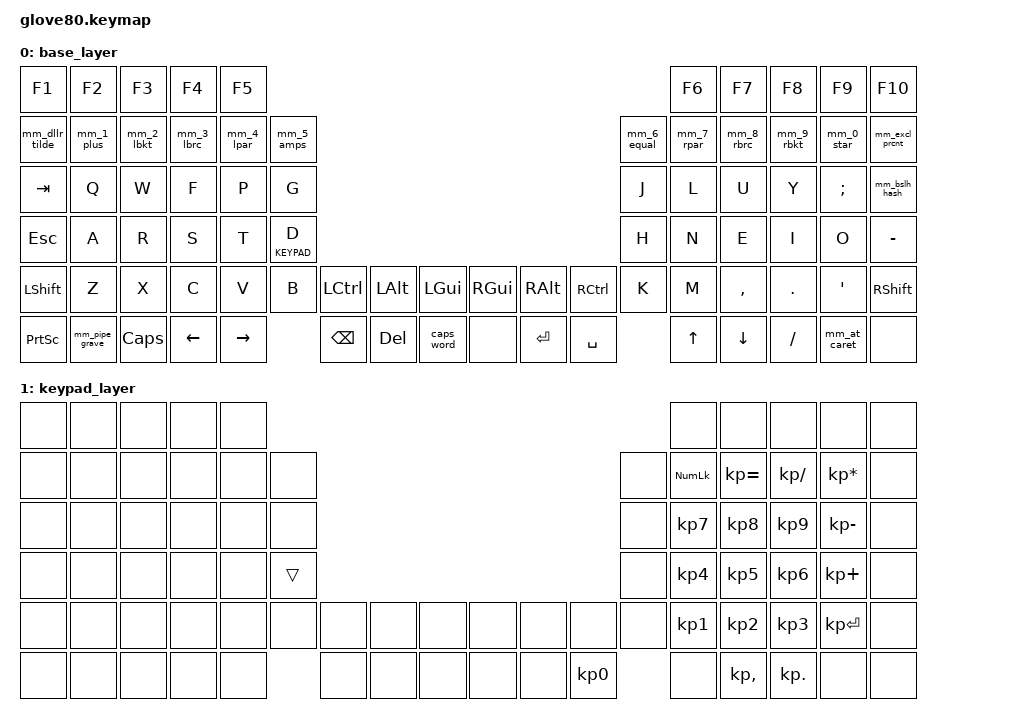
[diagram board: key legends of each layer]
/*
 * Glove80 ZMK Keymap - Colemak with Home Row Mods
 *
 * Layers:
 *   0: Base (Colemak, home row mods disabled - behaviors kept for easy re-enable)
 *   1: Keypad/Numpad
 */

#include <behaviors.dtsi>
#include <dt-bindings/zmk/keys.h>
#include <dt-bindings/zmk/bt.h>
#include <dt-bindings/zmk/ext_power.h>
#include <dt-bindings/zmk/outputs.h>

#define BASE 0
#define KEYPAD 1

// Home row mod settings
#define TAPPING_TERM 175
#define QUICK_TAP 150

/ {
    behaviors {
        // Home row mods - balanced flavor for better typing
        hml: home_row_mod_left {
            compatible = "zmk,behavior-hold-tap";
            #binding-cells = <2>;
            tapping-term-ms = <TAPPING_TERM>;
            quick-tap-ms = <QUICK_TAP>;
            flavor = "balanced";
            bindings = <&kp>, <&kp>;
            hold-trigger-key-positions = <6 7 8 9 10 11 18 19 20 21 22 23 30 31 32 33 34 35 43 44 45 46 47 48 49 55 56 57 58 59 63 64 65 66 67 75 76 77 78 79>;
            hold-trigger-on-release;
        };

        hmr: home_row_mod_right {
            compatible = "zmk,behavior-hold-tap";
            #binding-cells = <2>;
            tapping-term-ms = <TAPPING_TERM>;
            quick-tap-ms = <QUICK_TAP>;
            flavor = "balanced";
            bindings = <&kp>, <&kp>;
            hold-trigger-key-positions = <0 1 2 3 4 5 12 13 14 15 16 17 24 25 26 27 28 29 36 37 38 39 40 41 42 50 51 52 53 54 60 61 62 68 69 70 71 72 73 74>;
            hold-trigger-on-release;
        };

        // Layer tap for D key -> Keypad layer
        ltd: layer_tap_d {
            compatible = "zmk,behavior-hold-tap";
            #binding-cells = <2>;
            tapping-term-ms = <TAPPING_TERM>;
            quick-tap-ms = <QUICK_TAP>;
            flavor = "balanced";
            bindings = <&mo>, <&kp>;
        };

        // Mod-morph behaviors for custom symbol keys
        // Format: unshifted / shifted

        // | (pipe) / ` (grave)
        mm_pipe_grave: mod_morph_pipe_grave {
            compatible = "zmk,behavior-mod-morph";
            #binding-cells = <0>;
            bindings = <&kp PIPE>, <&kp GRAVE>;
            mods = <(MOD_LSFT|MOD_RSFT)>;
        };

        // 1 / + (plus)
        mm_1_plus: mod_morph_1_plus {
            compatible = "zmk,behavior-mod-morph";
            #binding-cells = <0>;
            bindings = <&kp N1>, <&kp PLUS>;
            mods = <(MOD_LSFT|MOD_RSFT)>;
        };

        // 2 / [ (left bracket)
        mm_2_lbkt: mod_morph_2_lbkt {
            compatible = "zmk,behavior-mod-morph";
            #binding-cells = <0>;
            bindings = <&kp N2>, <&kp LBKT>;
            mods = <(MOD_LSFT|MOD_RSFT)>;
        };

        // 3 / { (left brace)
        mm_3_lbrc: mod_morph_3_lbrc {
            compatible = "zmk,behavior-mod-morph";
            #binding-cells = <0>;
            bindings = <&kp N3>, <&kp LBRC>;
            mods = <(MOD_LSFT|MOD_RSFT)>;
        };

        // 4 / ( (left paren)
        mm_4_lpar: mod_morph_4_lpar {
            compatible = "zmk,behavior-mod-morph";
            #binding-cells = <0>;
            bindings = <&kp N4>, <&kp LPAR>;
            mods = <(MOD_LSFT|MOD_RSFT)>;
        };

        // 5 / & (ampersand)
        mm_5_amps: mod_morph_5_amps {
            compatible = "zmk,behavior-mod-morph";
            #binding-cells = <0>;
            bindings = <&kp N5>, <&kp AMPS>;
            mods = <(MOD_LSFT|MOD_RSFT)>;
        };

        // 6 / = (equal)
        mm_6_equal: mod_morph_6_equal {
            compatible = "zmk,behavior-mod-morph";
            #binding-cells = <0>;
            bindings = <&kp N6>, <&kp EQUAL>;
            mods = <(MOD_LSFT|MOD_RSFT)>;
        };

        // 7 / ) (right paren)
        mm_7_rpar: mod_morph_7_rpar {
            compatible = "zmk,behavior-mod-morph";
            #binding-cells = <0>;
            bindings = <&kp N7>, <&kp RPAR>;
            mods = <(MOD_LSFT|MOD_RSFT)>;
        };

        // 8 / } (right brace)
        mm_8_rbrc: mod_morph_8_rbrc {
            compatible = "zmk,behavior-mod-morph";
            #binding-cells = <0>;
            bindings = <&kp N8>, <&kp RBRC>;
            mods = <(MOD_LSFT|MOD_RSFT)>;
        };

        // 9 / ] (right bracket)
        mm_9_rbkt: mod_morph_9_rbkt {
            compatible = "zmk,behavior-mod-morph";
            #binding-cells = <0>;
            bindings = <&kp N9>, <&kp RBKT>;
            mods = <(MOD_LSFT|MOD_RSFT)>;
        };

        // 0 / * (asterisk)
        mm_0_star: mod_morph_0_star {
            compatible = "zmk,behavior-mod-morph";
            #binding-cells = <0>;
            bindings = <&kp N0>, <&kp ASTRK>;
            mods = <(MOD_LSFT|MOD_RSFT)>;
        };

        // ! / % (exclamation / percent)
        mm_excl_prcnt: mod_morph_excl_prcnt {
            compatible = "zmk,behavior-mod-morph";
            #binding-cells = <0>;
            bindings = <&kp EXCL>, <&kp PRCNT>;
            mods = <(MOD_LSFT|MOD_RSFT)>;
        };

        // \ / # (backslash / hash)
        mm_bslh_hash: mod_morph_bslh_hash {
            compatible = "zmk,behavior-mod-morph";
            #binding-cells = <0>;
            bindings = <&kp BSLH>, <&kp HASH>;
            mods = <(MOD_LSFT|MOD_RSFT)>;
        };

        // $ / ~ (dollar / tilde)
        mm_dllr_tilde: mod_morph_dllr_tilde {
            compatible = "zmk,behavior-mod-morph";
            #binding-cells = <0>;
            bindings = <&kp DLLR>, <&kp TILDE>;
            mods = <(MOD_LSFT|MOD_RSFT)>;
        };

        // @ / ^ (at / caret)
        mm_at_caret: mod_morph_at_caret {
            compatible = "zmk,behavior-mod-morph";
            #binding-cells = <0>;
            bindings = <&kp AT>, <&kp CARET>;
            mods = <(MOD_LSFT|MOD_RSFT)>;
        };
    };

    keymap {
        compatible = "zmk,keymap";

        base_layer {
            /*
             * ╭─────────────────────────────────────────╮                                         ╭─────────────────────────────────────────╮
             * │  F1  │  F2  │  F3  │  F4  │  F5  │      │                                         │      │  F6  │  F7  │  F8  │  F9  │ F10  │
             * │  $~  │  1+  │  2[  │  3{  │  4(  │  5&  │                                         │  6=  │  7)  │  8}  │  9]  │  0*  │  !%  │
             * │ TAB  │  Q   │  W   │  F   │  P   │  G   │                                         │  J   │  L   │  U   │  Y   │  ;   │  \#  │
             * │ ESC  │  A   │  R   │  S   │  T   │ D/L1 │                                         │  H   │  N   │  E   │  I   │  O   │  -   │
             * │SHIFT │  Z   │  X   │  C   │  V   │  B   │ LCTL │ LALT │ LGUI │ RGUI │ RALT │ RCTL │  K   │  M   │  ,   │  .   │  '   │SHIFT │
             * │ PRSC │  |`  │ CAPS │  ←   │  →   │      │ BSPC │ DEL  │CAPSW │      │ RET  │ SPC  │      │  ↑   │  ↓   │  /   │  @^  │      │
             * ╰─────────────────────────────────────────╯                                         ╰─────────────────────────────────────────╯
             */
            bindings = <
                &kp F1          &kp F2          &kp F3          &kp F4           &kp F5                                                                                                             &kp F6           &kp F7           &kp F8          &kp F9           &kp F10
                &mm_dllr_tilde  &mm_1_plus      &mm_2_lbkt      &mm_3_lbrc       &mm_4_lpar       &mm_5_amps                                                                           &mm_6_equal  &mm_7_rpar       &mm_8_rbrc       &mm_9_rbkt      &mm_0_star       &mm_excl_prcnt
                &kp TAB         &kp Q           &kp W           &kp F            &kp P            &kp G                                                                                &kp J        &kp L            &kp U            &kp Y           &kp SEMI         &mm_bslh_hash
                &kp ESC         &kp A           &kp R           &kp S            &kp T            &ltd KEYPAD D                                                                        &kp H        &kp N            &kp E            &kp I           &kp O            &kp MINUS
                &kp LSHFT       &kp Z           &kp X           &kp C            &kp V            &kp B          &kp LCTRL  &kp LALT  &kp LGUI    &kp RGUI  &kp RALT  &kp RCTRL        &kp K        &kp M            &kp COMMA        &kp DOT         &kp SQT          &kp RSHFT
                &kp PSCRN       &mm_pipe_grave  &kp CAPS        &kp LEFT         &kp RIGHT                       &kp BSPC   &kp DEL   &caps_word  &none     &kp RET   &kp SPACE                     &kp UP           &kp DOWN         &kp FSLH        &mm_at_caret     &none
            >;
        };

        keypad_layer {
            bindings = <
                &none           &none           &none           &none            &none                                                                                                              &none            &none            &none            &none            &none
                &none           &none           &none           &none            &none            &none                                                                            &none            &kp KP_NUM       &kp KP_EQUAL     &kp KP_SLASH     &kp KP_MULTIPLY  &none
                &none           &none           &none           &none            &none            &none                                                                            &none            &kp KP_N7        &kp KP_N8        &kp KP_N9        &kp KP_MINUS     &none
                &none           &none           &none           &none            &none            &trans                                                                           &none            &kp KP_N4        &kp KP_N5        &kp KP_N6        &kp KP_PLUS      &none
                &none           &none           &none           &none            &none            &none          &none   &none   &none     &none   &none   &none                   &none            &kp KP_N1        &kp KP_N2        &kp KP_N3        &kp KP_ENTER     &none
                &none           &none           &none           &none            &none                           &none   &none   &none     &none   &none   &kp KP_N0                                &none            &kp KP_COMMA     &kp KP_DOT       &none            &none
            >;
        };
    };
};
